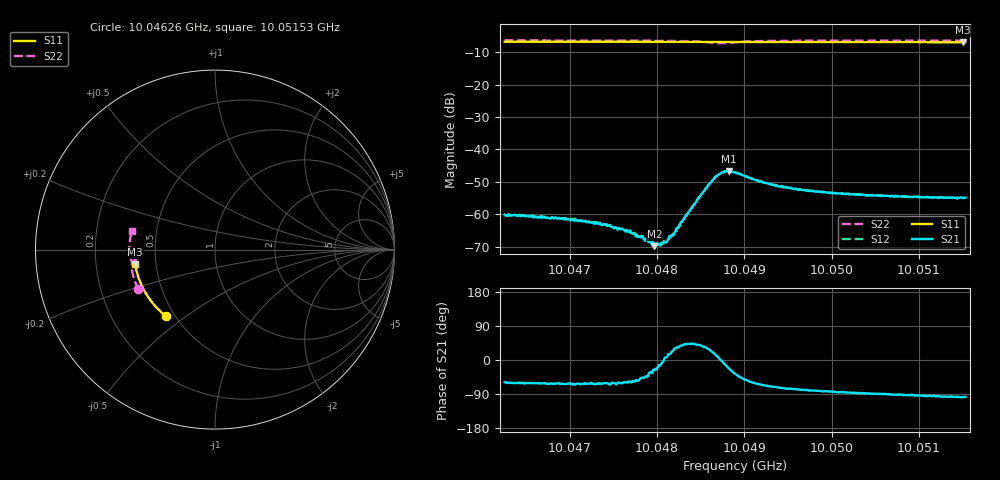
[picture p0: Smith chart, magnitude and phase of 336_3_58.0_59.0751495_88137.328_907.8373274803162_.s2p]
#  HZ  S  RI  R  50.00
! Rohde & Schwarz Vector Network Analyzer
! Rohde-Schwarz,ZNB20-2Port,1311601062101988,3.16
! Created: UTC 3/21/2024, 1:05:19 AM
! freq[Hz]  re:S11  im:S11  re:S21  im:S21  re:S12  im:S12  re:S22  im:S22
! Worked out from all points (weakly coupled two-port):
!   401 points, 10.04626 GHz to 10.05153 GHz, reference 50 ohm
!   highest |S21| = -46.73 dB at 10.04883 GHz (marker M1); lowest = -69.9 dB at 10.04797 GHz (marker M2)
!   lowest |S11| = -6.9 dB at 10.0515 GHz (marker M3), VSWR 2.65, Z = 19 - j3.94 ohm
!   |S11| at or under -10 dB: nowhere
!   |S22| runs from -7.2 to -6.4 dB; largest |S21 - S12| = 0.00032
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1.0046257e10  -0.2724 -0.3724  0.000512 -0.000839  0.000549 -0.000799  -0.4269 -0.2223
1.0046586e10  -0.2892 -0.3587  0.000432 -0.000778  0.000511 -0.000796  -0.4359 -0.2021
1.004714e10  -0.3161 -0.3336  0.00036 -0.000696  0.000395 -0.00068  -0.4494 -0.1673
1.0047325e10  -0.3245 -0.3247  0.000335 -0.000647  0.000391 -0.000637  -0.4533 -0.1551
1.0047602e10  -0.3369 -0.3113  0.000287 -0.00052  0.000335 -0.0005  -0.4584 -0.1361
1.0047747e10  -0.3429 -0.3039  0.000271 -0.000418  0.000315 -0.0004  -0.4607 -0.1259
1.0047826e10  -0.3461 -0.2999  0.000321 -0.000337  0.00032 -0.000327  -0.4617 -0.1202
1.0047971e10  -0.3522 -0.2922  0.000287 -0.000145  0.000312 -0.000145  -0.4632 -0.1092
1.0048023e10  -0.3544 -0.2897  0.000344 -7.87e-05  0.000348 -8.18e-05  -0.4636 -0.1053
1.0048089e10  -0.3569 -0.2862  0.000365 3.77e-05  0.000365 7e-05  -0.4641 -0.1
1.0048155e10  -0.3596 -0.2827  0.00043 0.000129  0.000422 0.000169  -0.4641 -0.0946
1.0048208e10  -0.3618 -0.2799  0.000464 0.000283  0.000448 0.000293  -0.4642 -0.0901
1.0048498e10  -0.3727 -0.2641  0.0015 0.00122  0.00146 0.00128  -0.4557 -0.064
1.0048656e10  -0.3779 -0.2553  0.00342 0.00103  0.00339 0.00122  -0.4388 -0.0581
1.0048749e10  -0.3809 -0.2502  0.0044 -0.000327  0.00445 -0.0001  -0.432 -0.0667
1.0048828e10  -0.3837 -0.2462  0.00422 -0.00185  0.00437 -0.00157  -0.4363 -0.0758
1.0048894e10  -0.3861 -0.2424  0.00354 -0.00263  0.00376 -0.00241  -0.4443 -0.0782
1.0049263e10  -0.3981 -0.2213  0.0011 -0.00279  0.00127 -0.00272  -0.47 -0.0521
1.0049777e10  -0.4127 -0.1907  0.000389 -0.00225  0.000506 -0.00227  -0.4764 -0.0123
1.0050661e10  -0.4323 -0.1363  -1.52e-05 -0.0019  8.26e-05 -0.00189  -0.4742 0.049
1.0051505e10  -0.4445 -0.0825  -0.00024 -0.00176  -0.000173 -0.00178  -0.4646 0.1044
1.0051531e10  -0.4448 -0.0807  -0.000222 -0.00178  -0.000161 -0.00176  -0.4644 0.1061
